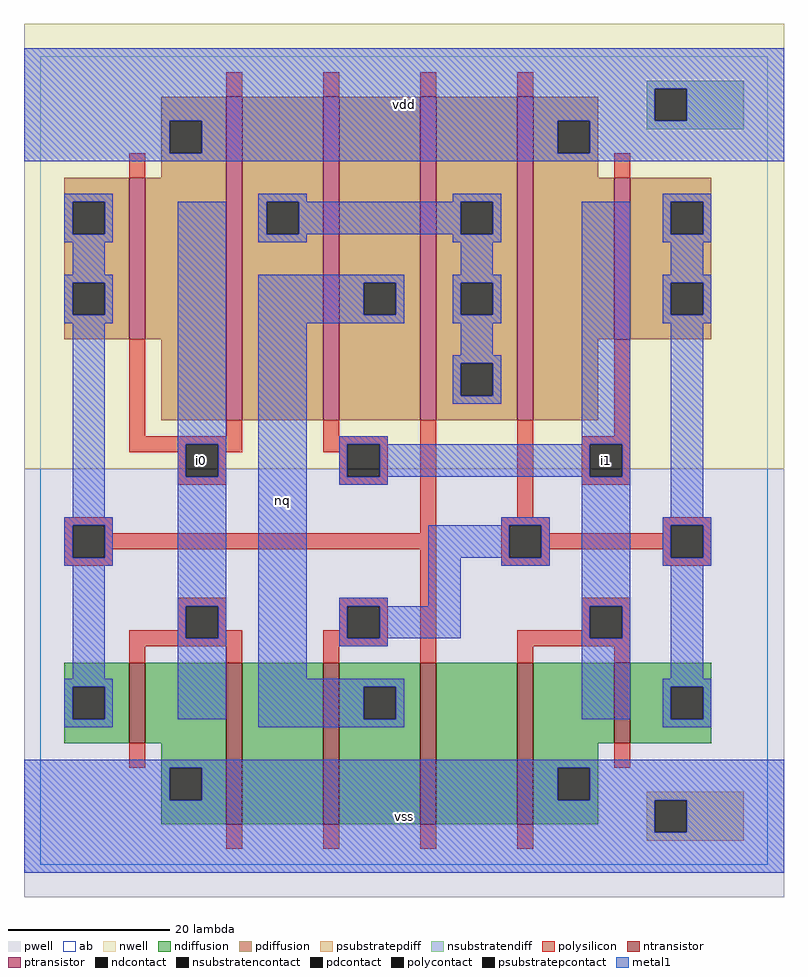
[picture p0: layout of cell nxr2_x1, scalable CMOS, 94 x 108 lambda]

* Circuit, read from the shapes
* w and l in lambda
.subckt nxr2_x1 i0 i1 nq vdd vss
M1 vss i0 n1 vss nfet w=10 l=2
M2 n2 i0 vss vss nfet w=20 l=2
M3 nq n3 n2 vss nfet w=20 l=2
M4 n4 n1 nq vss nfet w=20 l=2
M5 vss i1 n4 vss nfet w=20 l=2
M6 n3 i1 vss vss nfet w=10 l=2
M7 vdd i0 n1 vdd pfet w=20 l=2
M8 n5 i0 vdd vdd pfet w=40 l=2
M9 nq i1 n5 vdd pfet w=40 l=2
M10 n5 n1 nq vdd pfet w=40 l=2
M11 vdd n3 n5 vdd pfet w=40 l=2
M12 n3 i1 vdd vdd pfet w=20 l=2
.ends

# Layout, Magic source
magic
tech scmos
<< ab >>
rect 0 0 90 100
<< pwell >>
rect -2 -4 92 49
<< nwell >>
rect -2 49 92 104
<< polysilicon >>
rect 23 95 25 98
rect 35 95 37 98
rect 47 95 49 98
rect 59 95 61 98
rect 11 85 13 88
rect 11 53 13 65
rect 71 85 73 88
rect 23 53 25 55
rect 11 52 25 53
rect 11 51 18 52
rect 17 48 18 51
rect 22 51 25 52
rect 35 53 37 55
rect 35 52 43 53
rect 35 51 38 52
rect 22 48 23 51
rect 17 47 23 48
rect 37 48 38 51
rect 42 48 43 52
rect 37 47 43 48
rect 3 42 9 43
rect 3 38 4 42
rect 8 41 9 42
rect 47 41 49 55
rect 59 43 61 55
rect 71 53 73 65
rect 67 52 73 53
rect 67 48 68 52
rect 72 48 73 52
rect 67 47 73 48
rect 8 39 49 41
rect 8 38 9 39
rect 3 37 9 38
rect 17 32 23 33
rect 17 29 18 32
rect 11 28 18 29
rect 22 29 23 32
rect 37 32 43 33
rect 37 29 38 32
rect 22 28 25 29
rect 11 27 25 28
rect 11 25 13 27
rect 23 25 25 27
rect 35 28 38 29
rect 42 28 43 32
rect 35 27 43 28
rect 35 25 37 27
rect 47 25 49 39
rect 57 42 63 43
rect 57 38 58 42
rect 62 41 63 42
rect 77 42 83 43
rect 77 41 78 42
rect 62 39 78 41
rect 62 38 63 39
rect 57 37 63 38
rect 77 38 78 39
rect 82 38 83 42
rect 77 37 83 38
rect 67 32 73 33
rect 67 29 68 32
rect 59 28 68 29
rect 72 28 73 32
rect 59 27 73 28
rect 59 25 61 27
rect 71 25 73 27
rect 11 12 13 15
rect 71 12 73 15
rect 23 2 25 5
rect 35 2 37 5
rect 47 2 49 5
rect 59 2 61 5
<< ndiffusion >>
rect 3 22 11 25
rect 3 18 4 22
rect 8 18 11 22
rect 3 15 11 18
rect 13 15 23 25
rect 15 12 23 15
rect 15 8 16 12
rect 20 8 23 12
rect 15 5 23 8
rect 25 5 35 25
rect 37 22 47 25
rect 37 18 40 22
rect 44 18 47 22
rect 37 5 47 18
rect 49 5 59 25
rect 61 15 71 25
rect 73 22 83 25
rect 73 18 78 22
rect 82 18 83 22
rect 73 15 83 18
rect 61 12 69 15
rect 61 8 64 12
rect 68 8 69 12
rect 61 5 69 8
<< pdiffusion >>
rect 15 92 23 95
rect 15 88 16 92
rect 20 88 23 92
rect 15 85 23 88
rect 3 82 11 85
rect 3 78 4 82
rect 8 78 11 82
rect 3 72 11 78
rect 3 68 4 72
rect 8 68 11 72
rect 3 65 11 68
rect 13 65 23 85
rect 15 55 23 65
rect 25 82 35 95
rect 25 78 28 82
rect 32 78 35 82
rect 25 55 35 78
rect 37 72 47 95
rect 37 68 40 72
rect 44 68 47 72
rect 37 55 47 68
rect 49 82 59 95
rect 49 78 52 82
rect 56 78 59 82
rect 49 72 59 78
rect 49 68 52 72
rect 56 68 59 72
rect 49 62 59 68
rect 49 58 52 62
rect 56 58 59 62
rect 49 55 59 58
rect 61 92 69 95
rect 61 88 64 92
rect 68 88 69 92
rect 61 85 69 88
rect 61 65 71 85
rect 73 82 83 85
rect 73 78 78 82
rect 82 78 83 82
rect 73 72 83 78
rect 73 68 78 72
rect 82 68 83 72
rect 73 65 83 68
rect 61 55 69 65
<< metal1 >>
rect -2 96 92 101
rect -2 92 76 96
rect 80 92 92 96
rect -2 88 16 92
rect 20 88 64 92
rect 68 88 92 92
rect -2 87 92 88
rect 3 82 9 83
rect 27 82 33 83
rect 51 82 57 83
rect 77 82 83 83
rect 3 78 4 82
rect 8 78 9 82
rect 3 77 9 78
rect 4 73 8 77
rect 3 72 9 73
rect 3 68 4 72
rect 8 68 9 72
rect 3 67 9 68
rect 4 43 8 67
rect 17 52 23 82
rect 27 78 28 82
rect 32 78 52 82
rect 56 78 57 82
rect 27 77 33 78
rect 51 77 57 78
rect 52 73 56 77
rect 17 48 18 52
rect 22 48 23 52
rect 3 42 9 43
rect 3 38 4 42
rect 8 38 9 42
rect 3 37 9 38
rect 4 23 8 37
rect 17 32 23 48
rect 17 28 18 32
rect 22 28 23 32
rect 3 22 9 23
rect 3 18 4 22
rect 8 18 9 22
rect 17 18 23 28
rect 27 72 45 73
rect 27 68 40 72
rect 44 68 45 72
rect 27 67 45 68
rect 51 72 57 73
rect 51 68 52 72
rect 56 68 57 72
rect 51 67 57 68
rect 27 23 33 67
rect 52 63 56 67
rect 51 62 57 63
rect 51 58 52 62
rect 56 58 57 62
rect 51 57 57 58
rect 37 52 43 53
rect 67 52 73 82
rect 77 78 78 82
rect 82 78 83 82
rect 77 77 83 78
rect 78 73 82 77
rect 77 72 83 73
rect 77 68 78 72
rect 82 68 83 72
rect 77 67 83 68
rect 37 48 38 52
rect 42 48 68 52
rect 72 48 73 52
rect 37 47 43 48
rect 57 42 63 43
rect 48 38 58 42
rect 62 38 63 42
rect 37 32 43 33
rect 48 32 52 38
rect 57 37 63 38
rect 37 28 38 32
rect 42 28 52 32
rect 67 32 73 48
rect 78 43 82 67
rect 77 42 83 43
rect 77 38 78 42
rect 82 38 83 42
rect 77 37 83 38
rect 67 28 68 32
rect 72 28 73 32
rect 37 27 43 28
rect 27 22 45 23
rect 27 18 40 22
rect 44 18 45 22
rect 67 18 73 28
rect 78 23 82 37
rect 77 22 83 23
rect 77 18 78 22
rect 82 18 83 22
rect 3 17 9 18
rect 27 17 45 18
rect 77 17 83 18
rect -2 12 92 13
rect -2 8 16 12
rect 20 8 64 12
rect 68 8 92 12
rect -2 4 76 8
rect 80 4 92 8
rect -2 -1 92 4
<< ntransistor >>
rect 11 15 13 25
rect 23 5 25 25
rect 35 5 37 25
rect 47 5 49 25
rect 59 5 61 25
rect 71 15 73 25
<< ptransistor >>
rect 11 65 13 85
rect 23 55 25 95
rect 35 55 37 95
rect 47 55 49 95
rect 59 55 61 95
rect 71 65 73 85
<< polycontact >>
rect 18 48 22 52
rect 38 48 42 52
rect 4 38 8 42
rect 68 48 72 52
rect 18 28 22 32
rect 38 28 42 32
rect 58 38 62 42
rect 78 38 82 42
rect 68 28 72 32
<< ndcontact >>
rect 4 18 8 22
rect 16 8 20 12
rect 40 18 44 22
rect 78 18 82 22
rect 64 8 68 12
<< pdcontact >>
rect 16 88 20 92
rect 4 78 8 82
rect 4 68 8 72
rect 28 78 32 82
rect 40 68 44 72
rect 52 78 56 82
rect 52 68 56 72
rect 52 58 56 62
rect 64 88 68 92
rect 78 78 82 82
rect 78 68 82 72
<< psubstratepcontact >>
rect 76 4 80 8
<< nsubstratencontact >>
rect 76 92 80 96
<< psubstratepdiff >>
rect 75 8 87 9
rect 75 4 76 8
rect 80 4 87 8
rect 75 3 87 4
<< nsubstratendiff >>
rect 75 96 87 97
rect 75 92 76 96
rect 80 92 87 96
rect 75 91 87 92
<< labels >>
rlabel metal1 30 45 30 45 6 nq
rlabel metal1 30 45 30 45 6 nq
rlabel polycontact 20 50 20 50 6 i0
rlabel polycontact 20 50 20 50 6 i0
rlabel metal1 45 6 45 6 6 vss
rlabel metal1 45 6 45 6 6 vss
rlabel metal1 45 94 45 94 6 vdd
rlabel metal1 45 94 45 94 6 vdd
rlabel polycontact 70 50 70 50 6 i1
rlabel polycontact 70 50 70 50 6 i1
<< end >>
